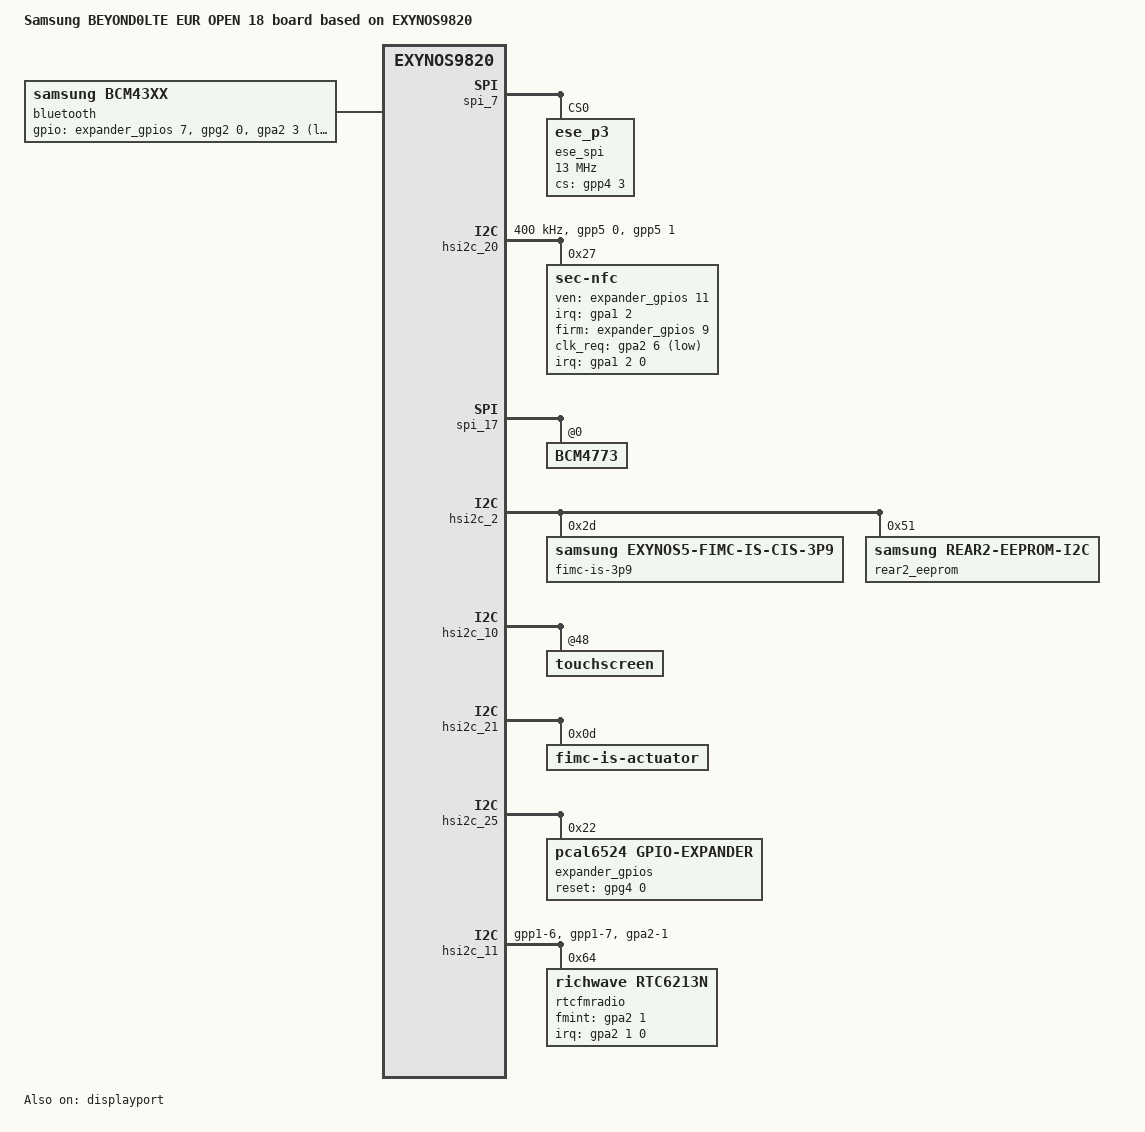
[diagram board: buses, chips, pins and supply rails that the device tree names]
/*
 * SAMSUNG EXYNOS9820 board device tree source
 *
 * Copyright (c) 2018 Samsung Electronics Co., Ltd.
 *		http://www.samsung.com
 *
 * This program is free software; you can redistribute it and/or modify
 * it under the terms of the GNU General Public License version 2 as
 * published by the Free Software Foundation.
*/

/dts-v1/;
/plugin/;
#include "exynos9820-sensorhub.dtsi"
#include "exynos9820-display-lcd.dtsi"
#include "battery_data_beyond0lte_18.dtsi"
#include "exynos9820-beyond0lte_if-pmic-max77705.dtsi"
#include <dt-bindings/clock/exynos9820.h>
#include <dt-bindings/pci/pci.h>
#include "exynos9820-bootargs_ext.dtsi"
#include "exynos9820-beyond0lte_camera.dtsi"
#include "exynos9820-beyond0lte_common.dtsi"
#include "exynos9820-beyond0lte_fingerprint_00.dtsi"
#include "exynos9820-beyond0lte_eur_open_gpio_02.dtsi"
#include "exynos9820-beyond0lte_optics-r00.dtsi"

/ {
	compatible = "samsung,BEYOND0LTE EUR OPEN 18", "samsung,EXYNOS9820";
	dtbo-hw_rev = <18>;
   	dtbo-hw_rev_end = <18>;

	fragment@model {
		target-path = "/";
		__overlay__ {
			#address-cells = <2>;
			#size-cells = <1>;

			model = "Samsung BEYOND0LTE EUR OPEN 18 board based on EXYNOS9820";
			
			pinctrl@15850000 {
				bt_hostwake: bt-hostwake {
					samsung,pins = "gpa2-3";
					samsung,pin-function = <0>;
					samsung,pin-pud = <0>;
				};
			};
			pinctrl@10430000 {
				bt_btwake: bt-btwake {
					samsung,pins = "gpg2-0";
					samsung,pin-function = <1>;
					samsung,pin-pud = <0>;
					samsung,pin-con-pdn = <3>;
					samsung,pin-pud-pdn = <0>;
				};
			};
			bluetooth {
				compatible = "samsung,bcm43xx";
				gpios = <&expander_gpios 7 0    /*BT_EN*/
				&gpg2 0 0    /*BT_WAKE*/
				&gpa2 3 0xF    /*BT_HOST_WAKE*/ >;
				pinctrl-names = "default";
				pinctrl-0=<&bt_hostwake &bt_btwake>;
				status = "okay";
			};

		}; /* end of __overlay__ */
	}; /* end of fragment */

	fragment@camera {
		target-path = "/";
		__overlay__ {
			/* Ultra Wide CAMERA */
			fimc_is_sensor_3p9: fimc-is_sensor_3p9@2D {
				power_seq_id = <1>;
			};
		}; /* end of __overlay__ */
	}; /* end of fragment */
}; /* end of root */

&pinctrl_6 {
	spi7_bus_suspend: spi7-bus-suspend {
		samsung,pins = "gpp4-2", "gpp4-1", "gpp4-0";
		samsung,pin-function = <0>;	/* INPUT */
		samsung,pin-pud = <1>;		/* DOWN */
		samsung,pin-drv = <0>;
	};
	spi7_cs_suspend: spi7-cs-suspend {
		samsung,pins = "gpp4-3";
		samsung,pin-function = <0>;	/* INPUT */
		samsung,pin-pud = <1>;		/* DOWN */
		samsung,pin-drv = <0>;
	};
};

/* SPI USI_PERIC1_USI06_SPI */
&spi_7 {
	status = "okay";
	/delete-property/ pinctrl-names;
	/delete-property/ pinctrl-0;
	pinctrl-names = "ese_active", "ese_suspend";
	pinctrl-0 = <&spi7_bus &spi7_cs>;
	pinctrl-1 = <&spi7_bus_suspend &spi7_cs_suspend>;

	ese_spi@0 {
		compatible = "ese_p3";
		reg = <0>;
		spi-max-frequency = <13000000>;
		gpio-controller;
		#gpio-cells = <2>;

		p3-vdd-1p8= "VDD_ESE_1P8";

		clocks = <&clock GATE_USI06_USI>, <&clock DOUT_CLK_PERIC1_USI06_USI>;
		clock-names = "pclk", "sclk";
		ese_p3,cs-gpio = <&gpp4 3 0>;

		controller-data {
			samsung,spi-feedback-delay = <0>;
			samsung,spi-chip-select-mode = <0>;
		};
	};
};

&hsi2c_20 {
	gpios = <&gpp5 0 0 &gpp5 1 0>;
	status = "okay";
	clock-frequency = <400000>;

	sec-nfc@27 {
		compatible = "sec-nfc";
		reg = <0x27>;

		interrupts = <2 0 0>;
		interrupt-parent = <&gpa1>;

		sec-nfc,ven-gpio = <&expander_gpios 11 0>;
		sec-nfc,irq-gpio = <&gpa1 2 0>;
		sec-nfc,firm-gpio = <&expander_gpios 9 0>;
		sec-nfc,clk_req-gpio = <&gpa2 6 0xf>;
		sec-nfc,clk_use = <2>;
		sec-nfc,nfc_pvdd = "VDD_NFC_1P8";

		clocks = <&clock OSC_NFC>;
		clock-names = "oscclk_nfc";
		sec-nfc,nfc_ap_clk;
		sec-nfc,ldo_control;
	};
};

&spi_17 {
	BCM4773@0 {
		ssp-acc-position = <7>;
		ssp-mag-position = <7>;
		ssp-mag-array = /bits/ 8 <134 84 91 63 237 222 0 69 210 54 152 123 240 164 0 249 255 30 62 41 190
					252 95 253 10 184 249>;
		ssp-thermi-up = /bits/ 16 <3023 2990 2952 2903 2843 2772 2684 2582 2464 2335 2190 2037 1882 1742
					1558 1397 1246 1103 974 851 746 651 601>;
		ssp-thermi-sub = /bits/ 16 <3021 2990 2951 2903 2843 2771 2685 2584 2467 2339 2195 2044 1891
					1747 1567 1409 1258 1115 986 864 759 662 612>;
	};
};

/* PERIC1 CAM1 */
&hsi2c_1 {
	status = "disabled";
};

/* PERIC1 CAM2 */
&hsi2c_2 {
	#address-cells = <1>;
	#size-cells = <0>;

	fimc-is-3p9@2D {
		compatible = "samsung,exynos5-fimc-is-cis-3p9";
		reg = <0x2D>; /* 1 bit right shift */
		id = <4>; /* matching fimc_is_sensor id */
		setfile = "setA";
		status = "okay";
	};

	rear2_eeprom@51 { /* Ultra wide eeprom */
		compatible = "samsung,rear2-eeprom-i2c";
		reg = <0x51>;

		rom_power_position = <4>;
		rom_size = <0x4000>;
		cal_map_es_version = <10>;
		camera_module_es_version = "A";
		/*skip_cal_loading;*/

		/* Beyond_Rear_Cal_Map_V010_20180709_for_ALL */
		/* 0 header */
		header_crc_check_list = <0x0000 0x00FB 0x00FC>;
		/* 0 master LSC */
		/* 1 master all */
		crc_check_list = <0x0100 0x1AFB 0x1AFC
							0x2200 0x22DF 0x22FC>;

		/* Master */
		rom_header_version_start_addr = <0x40>;
		rom_header_cal_data_start_addr = <0x100>;

		rom_header_cal_map_ver_start_addr = <0x50>;
		rom_header_isp_setfile_ver_start_addr = <0x54>;
		rom_header_project_name_start_addr = <0x5E>;

		rom_header_module_id_addr = <0xAE>; /* 0xA8 + reserved bytes */
		rom_header_sensor_id_addr = <0xB8>;

		rom_header_mtf_data_addr = <0x66>;

		rom_awb_master_addr = <0x2200>;
		rom_awb_module_addr = <0x2224>;
	};
};

&hsi2c_10 {
	status = "okay";
	touchscreen@48 {
		sec,bringup = <1>;
	};
};

&hsi2c_21 {
	#address-cells = <1>;
	#size-cells = <0>;

	fimc-is-actuator@0C {
		reg = <0x0D>;
	};
};

&hsi2c_25 {
	status = "okay";
	expander_gpios: pcal6524@22 {
		compatible = "pcal6524,gpio-expander";
		gpio-controller;
		#gpio-cells = <2>;
		reg = <0x22>;
		pinctrl-names = "expander_reset_setting";
		pinctrl-0 = <&expander_reset_active>;
		pcal6524,gpio_start = <300>;
		pcal6524,ngpio = <24>;
		pcal6524,reset-gpio = <&gpg4 0 0>;
		pcal6524,support_initialize = <1>;
		/* config, 24 ~ 0, 1bit configure[1:input, 0:output]*/
		pcal6524,config = <0xFFFFFF>;    /* P2[11111111] P1[11111111] P0[11111111] */
		/* data_out, 24 ~ 0, 1bit configure[1:high, 0:low]*/
		pcal6524,data_out = <0x000000>;  /* P2[00000000] P1[00000000] P0[00000000] */
		/* pull_reg, 8 ~ 0, 2bit configure[00:no_pull, 01:pull_down, 10:pull_up, 11:not used] */
		pcal6524,pull_reg_p0 = <0x0000>; /* 00 00 00 00 / 00 00 00 00 */
		pcal6524,pull_reg_p1 = <0x0000>; /* 00 00 00 00 / 00 00 00 00 */
		pcal6524,pull_reg_p2 = <0x0000>; /* 00 00 00 00 / 00 00 00 00 */
	};
};

&displayport {
	status = "okay";
	dp,aux_sw_oe = <&expander_gpios 4 0>;
	dp,sbu_sw_sel = <&expander_gpios 1 0>;
	dp,usb_con_sel = <&gpg0 4 0>;
};

&dp_ldo1 {
	regulator-always-on;
};

&pinctrl_0 {
	fm_int: fm-int {
		samsung,pins = "gpa2-1";
		samsung,pin-function = <0xf>;
		samsung,pin-pud = <0>;
		samsung,pin-con-pdn =<3>;
		samsung,pin-pud-pdn = <0>;
	};
};

&pinctrl_5 {
	hsi2c11_bus: hsi2c11-bus {
		samsung,pins = "gpp1-6", "gpp1-7";
		samsung,pin-function = <3>;
		samsung,pin-pud = <0>;
		samsung,pin-drv = <0>;
		samsung,pin-pud-pdn = <0>;
	};
};

&hsi2c_11 {
	status = "okay";
	pinctrl-names = "default";
	pinctrl-0 = <&hsi2c11_bus &fm_int>;

	rtcfmradio@64 {
		compatible = "richwave,rtc6213n", "rtc6213n";
		reg = <0x64>;
		interrupts = <1 0 0>;
		interrupt-parent = <&gpa2>;
		fmint-gpio = <&gpa2 1 0>;
		volume_db;
		radio_vol = <44 43 39 36 33 30 27 24 21 18 15 12 10 8 6 4>;
	};
};

&speedy {
	s2mps19mfd@00 {
		regulators {
			LDO29M {
				regulator-name = "vdd-fm-2p8";
				regulator-min-microvolt = <2800000>;
				regulator-max-microvolt = <2800000>;
				regulator-always-on;
				regulator-ramp-delay = <12000>;
				regulator-initial-mode = <3>;
			};
		};
	};
};
